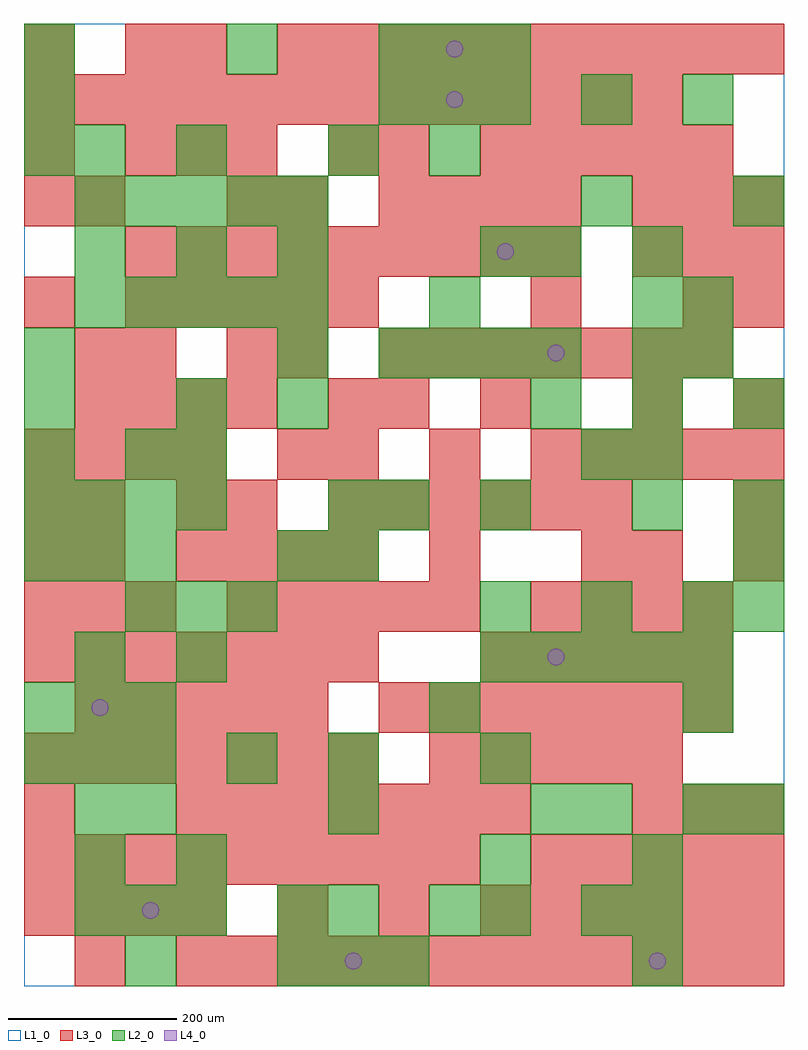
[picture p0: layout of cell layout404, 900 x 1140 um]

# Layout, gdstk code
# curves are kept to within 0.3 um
import gdstk
lib = gdstk.Library(unit=1e-6, precision=1e-09)
def R(c, l, rs):  # rectangles x0, y0, x1, y1
    for r in rs: c.add(gdstk.rectangle(r[:2], r[2:], *l))
def A(c, l, x, y, w, h, nx, ny, dx, dy):  # array of equal rectangles
    R(c, l, [(x+i*dx, y+j*dy, x+i*dx+w, y+j*dy+h) for i in range(nx) for j in range(ny)])
def P(c, l, *ps):  # polygons
    for p in ps: c.add(gdstk.Polygon(p, *l))
L1_0 = (1, 0)
L2_0 = (2, 0)
L3_0 = (3, 0)
L4_0 = (4, 0)

layout404 = lib.new_cell('layout404')
R(layout404, L1_0, [(0,0,900,1140)])
A(layout404, L2_0, 300, 0, 60, 60, 3, 1, 60, 0)
A(layout404, L2_0, 720, 0, 60, 60, 1, 3, 0, 60)
A(layout404, L2_0, 60, 60, 60, 60, 3, 1, 60, 0)
A(layout404, L2_0, 180, 120, 60, 60, 1, 3, 0, 240)
A(layout404, L2_0, 120, 180, 60, 60, 3, 1, 240, 0)
A(layout404, L2_0, 0, 240, 60, 60, 3, 2, 60, 60)
A(layout404, L2_0, 540, 240, 60, 60, 1, 3, 0, 300)
A(layout404, L2_0, 540, 360, 60, 60, 5, 1, 60, 0)
A(layout404, L2_0, 120, 420, 60, 60, 3, 1, 60, 0)
A(layout404, L2_0, 540, 420, 60, 60, 3, 1, 120, 0)
A(layout404, L2_0, 840, 420, 60, 60, 1, 3, 0, 60)
A(layout404, L2_0, 0, 480, 60, 60, 3, 1, 60, 0)
A(layout404, L2_0, 0, 540, 60, 60, 4, 1, 60, 0)
A(layout404, L2_0, 0, 600, 60, 60, 1, 3, 0, 60)
A(layout404, L2_0, 600, 660, 60, 60, 3, 1, 120, 0)
A(layout404, L2_0, 420, 720, 60, 60, 4, 1, 60, 0)
A(layout404, L2_0, 720, 720, 60, 60, 1, 3, 0, 60)
A(layout404, L2_0, 60, 780, 60, 60, 5, 2, 60, 120)
A(layout404, L2_0, 60, 840, 60, 60, 3, 1, 120, 0)
A(layout404, L2_0, 0, 960, 60, 60, 1, 3, 0, 60)
A(layout404, L2_0, 420, 1020, 60, 60, 3, 2, 60, 60)
R(layout404, L2_0, [(120,0,180,60), (300,60,360,120), (360,60,420,120), (480,60,540,120), (540,60,600,120), (660,60,720,120), (60,120,120,180), (540,120,600,180), (60,180,120,240), (660,180,720,240), (780,180,840,240), (840,180,900,240), (240,240,300,300), (360,240,420,300), (480,300,540,360), (780,300,840,360), (60,360,120,420), (300,480,360,540), (360,480,420,540), (360,540,420,600), (420,540,480,600), (720,540,780,600), (120,600,180,660), (660,600,720,660), (720,600,780,660), (180,660,240,720), (300,660,360,720), (300,720,360,780), (780,720,840,780), (480,780,540,840), (780,780,840,840), (600,840,660,900), (660,900,720,960), (840,900,900,960), (60,960,120,1020), (180,960,240,1020), (360,960,420,1020), (480,960,540,1020), (660,1020,720,1080), (780,1020,840,1080), (240,1080,300,1140)])
A(layout404, L3_0, 180, 0, 60, 60, 12, 1, 60, 0)
A(layout404, L3_0, 0, 60, 60, 60, 4, 2, 60, 540)
A(layout404, L3_0, 300, 60, 60, 60, 3, 1, 120, 0)
A(layout404, L3_0, 600, 60, 60, 60, 5, 2, 60, 60)
A(layout404, L3_0, 0, 120, 60, 60, 9, 1, 60, 0)
A(layout404, L3_0, 180, 180, 60, 60, 7, 1, 60, 0)
A(layout404, L3_0, 720, 180, 60, 60, 3, 2, 60, 660)
A(layout404, L3_0, 0, 240, 60, 60, 7, 2, 60, 120)
A(layout404, L3_0, 480, 240, 60, 60, 5, 1, 60, 0)
A(layout404, L3_0, 60, 300, 60, 60, 5, 1, 60, 0)
A(layout404, L3_0, 420, 300, 60, 60, 7, 2, 60, 420)
A(layout404, L3_0, 540, 360, 60, 60, 5, 2, 60, 600)
A(layout404, L3_0, 0, 420, 60, 60, 3, 1, 60, 0)
A(layout404, L3_0, 240, 420, 60, 60, 5, 1, 60, 0)
A(layout404, L3_0, 600, 420, 60, 60, 4, 1, 60, 0)
A(layout404, L3_0, 180, 480, 60, 60, 4, 1, 60, 0)
A(layout404, L3_0, 60, 540, 60, 60, 1, 3, 0, 180)
A(layout404, L3_0, 240, 540, 60, 60, 1, 3, 0, 180)
A(layout404, L3_0, 360, 540, 60, 60, 6, 1, 60, 0)
A(layout404, L3_0, 840, 540, 60, 60, 1, 3, 0, 120)
A(layout404, L3_0, 360, 600, 60, 60, 3, 1, 120, 0)
A(layout404, L3_0, 660, 600, 60, 60, 4, 1, 60, 0)
A(layout404, L3_0, 60, 660, 60, 60, 4, 1, 60, 0)
A(layout404, L3_0, 120, 780, 60, 60, 5, 1, 60, 0)
A(layout404, L3_0, 120, 840, 60, 60, 9, 1, 60, 0)
A(layout404, L3_0, 420, 900, 60, 60, 4, 1, 60, 0)
A(layout404, L3_0, 720, 900, 60, 60, 3, 1, 60, 0)
A(layout404, L3_0, 120, 960, 60, 60, 3, 1, 60, 0)
A(layout404, L3_0, 0, 1020, 60, 60, 13, 1, 60, 0)
A(layout404, L3_0, 300, 1080, 60, 60, 10, 1, 60, 0)
R(layout404, L3_0, [(60,0,120,60), (0,180,60,240), (0,480,60,540), (60,480,120,540), (480,480,540,540), (660,480,720,540), (720,480,780,540), (840,480,900,540), (0,540,60,600), (180,540,240,600), (300,600,360,660), (360,660,420,720), (420,660,480,720), (540,660,600,720), (720,660,780,720), (120,720,180,780), (300,720,360,780), (0,780,60,840), (600,780,660,840), (780,780,840,840), (0,900,60,960), (300,900,360,960), (0,960,60,1020), (360,960,420,1020), (420,960,480,1020), (0,1080,60,1140), (120,1080,180,1140), (180,1080,240,1140)])
P(layout404, L4_0, [(100,330),(99.239,333.827),(97.071,337.071),(93.827,339.239),(90,340),(86.173,339.239),(82.929,337.071),(80.761,333.827),(80,330),(80.761,326.173),(82.929,322.929),(86.173,320.761),(90,320),(93.827,320.761),(97.071,322.929),(99.239,326.173)],
  [(160,90),(159.239,93.827),(157.071,97.071),(153.827,99.239),(150,100),(146.173,99.239),(142.929,97.071),(140.761,93.827),(140,90),(140.761,86.173),(142.929,82.929),(146.173,80.761),(150,80),(153.827,80.761),(157.071,82.929),(159.239,86.173)],
  [(400,30),(399.239,33.827),(397.071,37.071),(393.827,39.239),(390,40),(386.173,39.239),(382.929,37.071),(380.761,33.827),(380,30),(380.761,26.173),(382.929,22.929),(386.173,20.761),(390,20),(393.827,20.761),(397.071,22.929),(399.239,26.173)],
  [(520,1050),(519.239,1053.827),(517.071,1057.071),(513.827,1059.239),(510,1060),(506.173,1059.239),(502.929,1057.071),(500.761,1053.827),(500,1050),(500.761,1046.173),(502.929,1042.929),(506.173,1040.761),(510,1040),(513.827,1040.761),(517.071,1042.929),(519.239,1046.173)],
  [(520,1110),(519.239,1113.827),(517.071,1117.071),(513.827,1119.239),(510,1120),(506.173,1119.239),(502.929,1117.071),(500.761,1113.827),(500,1110),(500.761,1106.173),(502.929,1102.929),(506.173,1100.761),(510,1100),(513.827,1100.761),(517.071,1102.929),(519.239,1106.173)],
  [(580,870),(579.239,873.827),(577.071,877.071),(573.827,879.239),(570,880),(566.173,879.239),(562.929,877.071),(560.761,873.827),(560,870),(560.761,866.173),(562.929,862.929),(566.173,860.761),(570,860),(573.827,860.761),(577.071,862.929),(579.239,866.173)],
  [(640,390),(639.239,393.827),(637.071,397.071),(633.827,399.239),(630,400),(626.173,399.239),(622.929,397.071),(620.761,393.827),(620,390),(620.761,386.173),(622.929,382.929),(626.173,380.761),(630,380),(633.827,380.761),(637.071,382.929),(639.239,386.173)],
  [(640,750),(639.239,753.827),(637.071,757.071),(633.827,759.239),(630,760),(626.173,759.239),(622.929,757.071),(620.761,753.827),(620,750),(620.761,746.173),(622.929,742.929),(626.173,740.761),(630,740),(633.827,740.761),(637.071,742.929),(639.239,746.173)],
  [(760,30),(759.239,33.827),(757.071,37.071),(753.827,39.239),(750,40),(746.173,39.239),(742.929,37.071),(740.761,33.827),(740,30),(740.761,26.173),(742.929,22.929),(746.173,20.761),(750,20),(753.827,20.761),(757.071,22.929),(759.239,26.173)])

lib.write_gds('layout404.gds')
